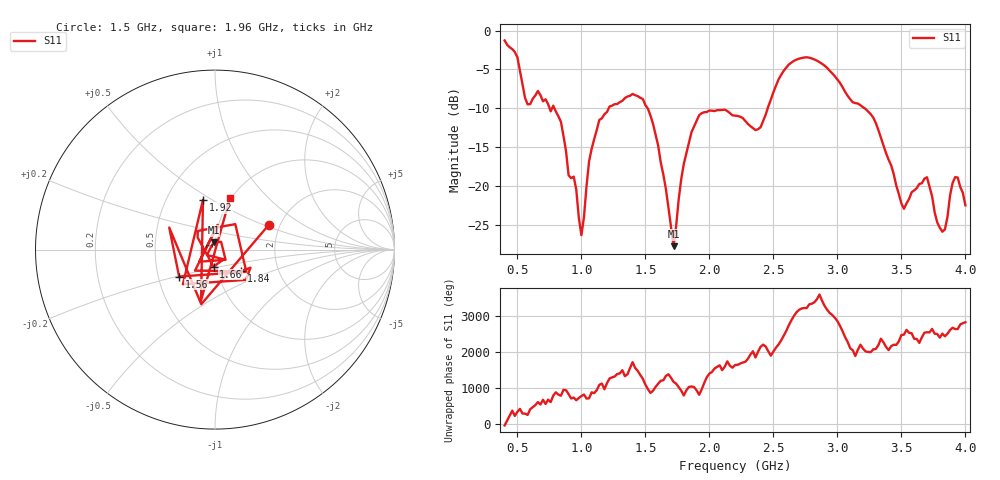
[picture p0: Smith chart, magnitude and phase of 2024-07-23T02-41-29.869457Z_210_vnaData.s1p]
!Created with skrf (http://scikit-rf.org).
# Hz S RI R 50.0
!freq ReS11 ImS11
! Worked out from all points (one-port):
!   181 points, 400 MHz to 4 GHz, reference 50 ohm
!   lowest |S11| = -27.8 dB at 1.72 GHz (marker M1), VSWR 1.09, Z = 49 + j3.94 ohm
!   |S11| at or under -10 dB: 789 MHz to 1.213 GHz (424.4 MHz wide, 42.4 % of centre); 1.517 GHz to 2.456 GHz (938.4 MHz wide, 47.2 % of centre); 3.212 GHz to end of sweep (the widest 3 of 4)
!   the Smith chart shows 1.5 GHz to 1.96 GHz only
!   S11 on the Smith chart (normalised r, x): 1.5 GHz: 1.75, +0.55; 1.56 GHz: 0.64, -0.21; 1.66 GHz: 0.97, -0.19; 1.84 GHz: 1.29, -0.32; 1.92 GHz: 0.76, +0.46; 1.96 GHz: 0.99, +0.62
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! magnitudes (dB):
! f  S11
! 400 MHz  -1.3
! 500 MHz  -3.4
! 580 MHz  -9.5
! 660 MHz  -7.8
! 860 MHz  -13.6
! 1 GHz  -26.3
! 1.06 GHz  -16.8
! 1.14 GHz  -11.5
! 1.3 GHz  -9.2
! 1.5 GHz  -9.6
! 1.56 GHz  -12.0
! 1.66 GHz  -20.4
! 1.72 GHz  -27.8
! 1.76 GHz  -21.7
! 1.84 GHz  -14.5
! 1.92 GHz  -10.9
! 1.96 GHz  -10.5
! 2.2 GHz  -11.0
! 2.4 GHz  -12.4
! 2.66 GHz  -3.9
! 3.1 GHz  -8.8
! 3.28 GHz  -11.2
! 3.5 GHz  -22.3
! 3.56 GHz  -21.7
! 3.7 GHz  -18.9
! 3.82 GHz  -25.9
! 3.92 GHz  -18.9
! 4 GHz  -22.5
